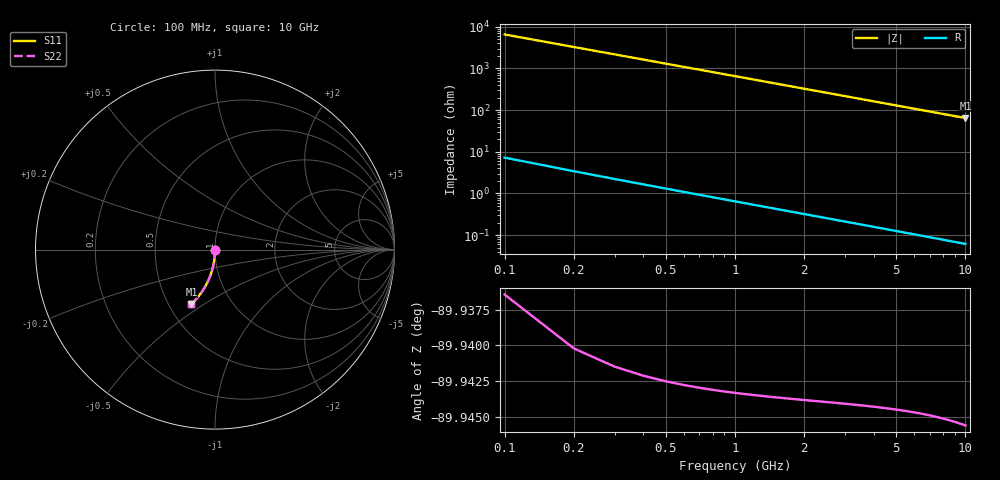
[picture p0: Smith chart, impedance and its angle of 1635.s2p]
# Hz S RI R 50.00
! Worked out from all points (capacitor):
!   100 points, 100 MHz to 10 GHz, reference 50 ohm
!   read as one part in shunt: C = 243 fF near 100 MHz
!   lowest |Z| = 64.8 ohm at 10 GHz (marker M1)
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1e8  6.27e-05 -0.00347  0.9999 -0.00417  0.9999 -0.00417  6.27e-05 -0.00347
2e8  1.61e-05 -0.00694  0.9999 -0.00833  0.9999 -0.00833  1.61e-05 -0.00694
3e8  -5.95e-05 -0.0104  0.9998 -0.0125  0.9998 -0.0125  -5.95e-05 -0.0104
4e8  -0.000164 -0.0139  0.9997 -0.0167  0.9997 -0.0167  -0.000164 -0.0139
5e8  -0.000298 -0.0173  0.9995 -0.0208  0.9995 -0.0208  -0.000298 -0.0173
6e8  -0.00046 -0.0208  0.9994 -0.025  0.9994 -0.025  -0.00046 -0.0208
7e8  -0.000652 -0.0243  0.9992 -0.0292  0.9992 -0.0292  -0.000652 -0.0243
8e8  -0.000872 -0.0277  0.9989 -0.0333  0.9989 -0.0333  -0.000872 -0.0277
9e8  -0.00112 -0.0312  0.9987 -0.0375  0.9987 -0.0375  -0.00112 -0.0312
1.1e9  -0.00171 -0.0381  0.9981 -0.0458  0.9981 -0.0458  -0.00171 -0.0381
1.4e9  -0.0028 -0.0485  0.997 -0.0583  0.997 -0.0583  -0.0028 -0.0485
1.8e9  -0.00467 -0.0623  0.9951 -0.0749  0.9951 -0.0749  -0.00467 -0.0623
2.1e9  -0.00637 -0.0725  0.9934 -0.0873  0.9934 -0.0873  -0.00637 -0.0725
2.5e9  -0.00903 -0.0862  0.9906 -0.1037  0.9906 -0.1037  -0.00903 -0.0862
2.9e9  -0.0121 -0.0997  0.9875 -0.1201  0.9875 -0.1201  -0.0121 -0.0997
3.4e9  -0.0167 -0.1165  0.9829 -0.1404  0.9829 -0.1404  -0.0167 -0.1165
4.2e9  -0.0253 -0.1428  0.9741 -0.1724  0.9741 -0.1724  -0.0253 -0.1428
5.1e9  -0.0371 -0.1715  0.9621 -0.2075  0.9621 -0.2075  -0.0371 -0.1715
5.9e9  -0.0492 -0.196  0.9498 -0.2378  0.9498 -0.2378  -0.0492 -0.196
6.7e9  -0.0628 -0.2195  0.9359 -0.267  0.9359 -0.267  -0.0628 -0.2195
8.4e9  -0.096 -0.2654  0.9021 -0.3254  0.9021 -0.3254  -0.096 -0.2654
1e10  -0.1315 -0.3031  0.8657 -0.3749  0.8657 -0.3749  -0.1315 -0.3031
